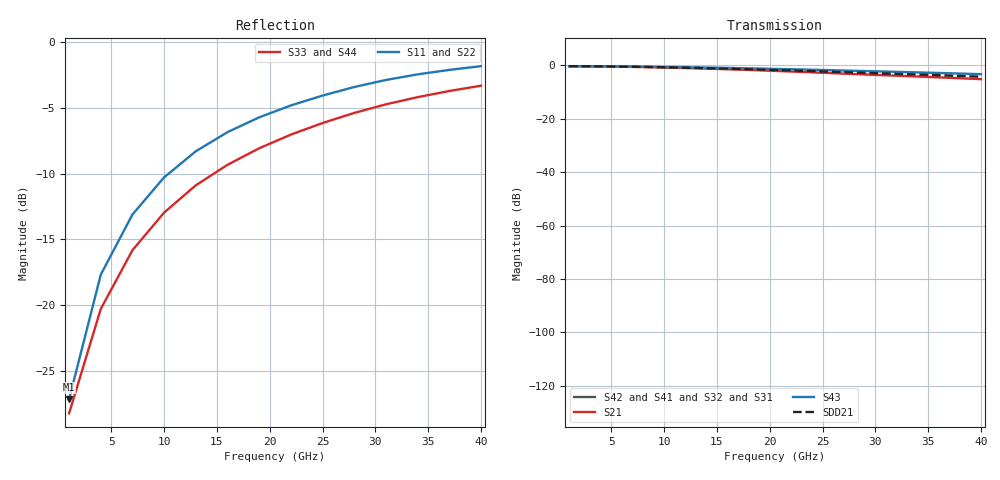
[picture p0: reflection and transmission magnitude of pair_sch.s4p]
# GHz S RI R 50
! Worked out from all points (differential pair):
!   14 points, 1 GHz to 40 GHz, reference 50 ohm
!   strongest paths, dB at 1 GHz, 10 GHz, 22 GHz, 31 GHz, 40 GHz:
!     S43: -0.3, -0.6, -1.4, -2.3, -3.3
!     S21: -0.3, -0.8, -2.3, -3.7, -5.1
!     S42: -, -, -, -, -
!     S41: -, -, -, -, -
!     S32: -, -, -, -, -
!     S31: -, -, -, -, -
!   taken as a pair (ports 3,1 in; 4,2 out), SDD21 dB: -0.3, -0.7, -1.9, -3.0, -4.2
!   lowest |S11| = -27.1 dB at 1 GHz (marker M1), VSWR 1.09, Z = 53.3 + j3.17 ohm
!   |S11| at or under -10 dB: start of sweep to 10.43 GHz
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1  0.0325 0.0297  0.9649 -0.0382  0 0  0 0
   0.9649 -0.0382  0.0325 0.0298  0 0  0 0
   0 0  0 0  0.0324 0.0215  0.9663 -0.027
   0 0  0 0  0.9663 -0.027  0.0324 0.0216
4  0.0494 0.1211  0.9441 -0.1439  0 0  0 0
   0.9441 -0.1439  0.0496 0.1212  0 0  0 0
   0 0  0 0  0.0415 0.0875  0.9548 -0.103
   0 0  0 0  0.9548 -0.103  0.0416 0.0876
7  0.0871 0.2033  0.9054 -0.2409  0 0  0 0
   0.9054 -0.2409  0.0875 0.2034  0 0  0 0
   0 0  0 0  0.0622 0.1494  0.9336 -0.175
   0 0  0 0  0.9336 -0.175  0.0624 0.1495
13  0.2029 0.3264  0.7868 -0.395  0 0  0 0
    0.7868 -0.395  0.2041 0.3262  0 0  0 0
    0 0  0 0  0.1288 0.2547  0.8656 -0.3013
    0 0  0 0  0.8656 -0.3013  0.1295 0.2547
19  0.3399 0.3898  0.6436 -0.489  0 0  0 0
    0.6436 -0.489  0.3419 0.3887  0 0  0 0
    0 0  0 0  0.2152 0.3307  0.7762 -0.3982
    0 0  0 0  0.7762 -0.3982  0.2165 0.3303
25  0.475 0.407  0.5 -0.5282  0 0  0 0
    0.5 -0.5282  0.4774 0.4048  0 0  0 0
    0 0  0 0  0.3119 0.3805  0.6751 -0.4651
    0 0  0 0  0.6751 -0.4651  0.3137 0.3796
40  0.7533 0.2946  0.2318 -0.5021  0 0  0 0
    0.2318 -0.5021  0.7574 0.2884  0 0  0 0
    0 0  0 0  0.5589 0.3905  0.4328 -0.5305
    0 0  0 0  0.4328 -0.5305  0.5625 0.3873
